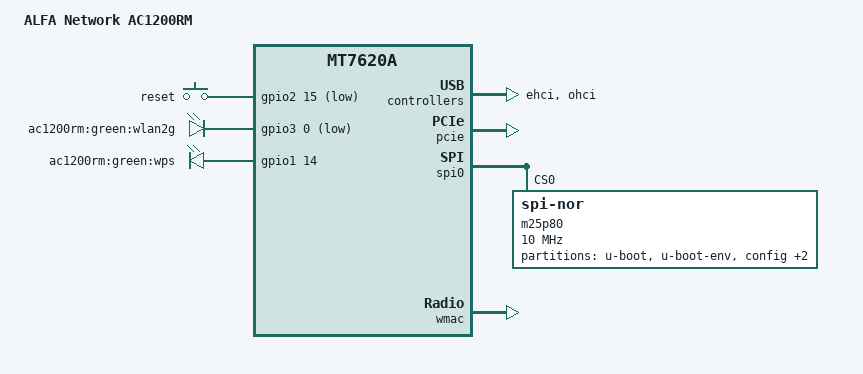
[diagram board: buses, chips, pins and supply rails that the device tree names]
/*
 *  BSD LICENSE
 *
 *  Copyright (C) 2018 Piotr Dymacz <pepe2k@gmail.com>
 *  All rights reserved.
 *
 *  Redistribution and use in source and binary forms, with or without
 *  modification, are permitted provided that the following conditions
 *  are met:
 *
 *    1. Redistributions of source code must retain the above copyright
 *       notice, this list of conditions and the following disclaimer.
 *    2. Redistributions in binary form must reproduce the above copyright
 *       notice, this list of conditions and the following disclaimer in the
 *       documentation and/or other materials provided with the distribution.
 *    3. Neither the names of the copyright holders nor the names of any
 *       contributors may be used to endorse or promote products derived
 *       from this software without specific prior written permission.
 *
 *  THIS SOFTWARE IS PROVIDED BY THE COPYRIGHT HOLDERS AND CONTRIBUTORS
 *  "AS IS" AND ANY EXPRESS OR IMPLIED WARRANTIES, INCLUDING, BUT NOT
 *  LIMITED TO, THE IMPLIED WARRANTIES OF MERCHANTABILITY AND FITNESS FOR
 *  A PARTICULAR PURPOSE ARE DISCLAIMED. IN NO EVENT SHALL THE COPYRIGHT
 *  HOLDER OR CONTRIBUTORS BE LIABLE FOR ANY DIRECT, INDIRECT, INCIDENTAL,
 *  SPECIAL, EXEMPLARY, OR CONSEQUENTIAL DAMAGES (INCLUDING, BUT NOT
 *  LIMITED TO, PROCUREMENT OF SUBSTITUTE GOODS OR SERVICES; LOSS OF USE,
 *  DATA, OR PROFITS; OR BUSINESS INTERRUPTION) HOWEVER CAUSED AND ON ANY
 *  THEORY OF LIABILITY, WHETHER IN CONTRACT, STRICT LIABILITY, OR TORT
 *  (INCLUDING NEGLIGENCE OR OTHERWISE) ARISING IN ANY WAY OUT OF THE USE
 *  OF THIS SOFTWARE, EVEN IF ADVISED OF THE POSSIBILITY OF SUCH DAMAGE.
 */

/dts-v1/;

#include "mt7620a.dtsi"

#include <dt-bindings/gpio/gpio.h>
#include <dt-bindings/input/input.h>

/ {
	compatible = "alfa-network,ac1200rm", "ralink,mt7620a-soc";
	model = "ALFA Network AC1200RM";

	aliases {
		led-boot = &led_wps;
		led-failsafe = &led_wps;
	};

	chosen {
		bootargs = "console=ttyS0,115200";
	};

	gpio-keys-polled {
		compatible = "gpio-keys-polled";
		poll-interval = <20>;

		reset {
			label = "reset";
			gpios = <&gpio2 15 GPIO_ACTIVE_LOW>;
			linux,code = <KEY_RESTART>;
		};
	};

	gpio-leds {
		compatible = "gpio-leds";

		wlan2g {
			label = "ac1200rm:green:wlan2g";
			gpios = <&gpio3 0 GPIO_ACTIVE_LOW>;
		};

		led_wps: wps {
			label = "ac1200rm:green:wps";
			gpios = <&gpio1 14 GPIO_ACTIVE_HIGH>;
		};
	};
};

&ehci {
	status = "okay";
};

&ethernet {
	mtd-mac-address = <&factory 0x28>;
	mediatek,portmap = "llllw";
	pinctrl-names = "default";
	pinctrl-0 = <&ephy_pins>;
};

&gpio1 {
	status = "okay";
};

&gpio2 {
	status = "okay";
};

&gpio3 {
	status = "okay";
};

&gsw {
	mediatek,port4 = "ephy";
};

&ohci {
	status = "okay";
};

&pcie {
	status = "okay";
};

&pcie0 {
	mt76@0,0 {
		reg = <0x0000 0 0 0 0>;
		mediatek,mtd-eeprom = <&factory 0x8000>;
		ieee80211-freq-limit = <5000000 6000000>;

		led {
			led-sources = <2>;
			led-active-low;
		};
	};
};

&pinctrl {
	state_default: pinctrl0 {
		gpio {
			ralink,group = "nd_sd", "spi refclk", "wled";
			ralink,function = "gpio";
		};
	};
};

&spi0 {
	status = "okay";

	m25p80@0 {
		compatible = "jedec,spi-nor";
		reg = <0>;
		spi-max-frequency = <10000000>;

		partitions {
			compatible = "fixed-partitions";
			#address-cells = <1>;
			#size-cells = <1>;

			partition@0 {
				label = "u-boot";
				reg = <0x0 0x30000>;
				read-only;
			};

			partition@30000 {
				label = "u-boot-env";
				reg = <0x30000 0x1000>;
			};

			partition@31000 {
				label = "config";
				reg = <0x31000 0xf000>;
				read-only;
			};

			factory: partition@40000 {
				label = "factory";
				reg = <0x40000 0x10000>;
				read-only;
			};

			partition@50000 {
				compatible = "denx,uimage";
				label = "firmware";
				reg = <0x50000 0xfb0000>;
			};
		};
	};
};

&wmac {
	ralink,mtd-eeprom = <&factory 0>;
};
